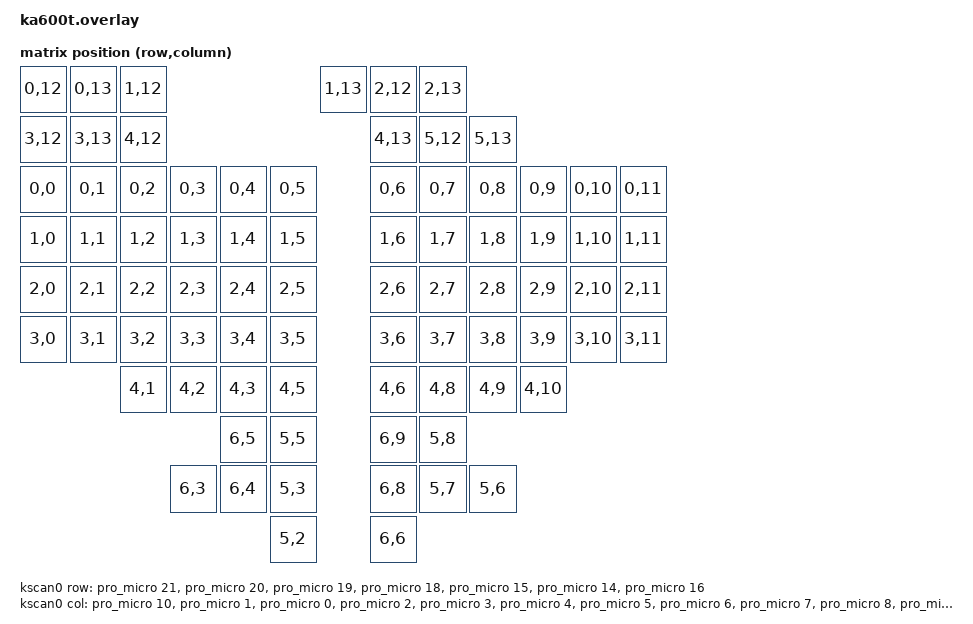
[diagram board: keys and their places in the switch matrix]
/*
 * Copyright (c) 2021 The ZMK Contributors
 *
 * SPDX-License-Identifier: MIT
 */

/*
 * Mostly copied from https://github.com/ergodone/zmkold
 */

#include <dt-bindings/zmk/matrix_transform.h>

/ {
    chosen {
        zmk,kscan = &kscan0;
        zmk,matrix_transform = &default_transform;
    };

    kscan0: kscan {
        compatible = "zmk,kscan-gpio-matrix";
        label = "KSCAN";

        diode-direction = "col2row";

        row-gpios
            = <&pro_micro 21 (GPIO_ACTIVE_LOW | GPIO_PULL_UP)>,
			<&pro_micro   20 (GPIO_ACTIVE_LOW | GPIO_PULL_UP)>,
			<&pro_micro   19 (GPIO_ACTIVE_LOW | GPIO_PULL_UP)>,
			<&pro_micro   18 (GPIO_ACTIVE_LOW | GPIO_PULL_UP)>,
			<&pro_micro   15 (GPIO_ACTIVE_LOW | GPIO_PULL_UP)>,
			<&pro_micro   14 (GPIO_ACTIVE_LOW | GPIO_PULL_UP)>,
			<&pro_micro   16 (GPIO_ACTIVE_LOW | GPIO_PULL_UP)>;
            
        col-gpios // GPIO_ACTIVE_HIGH
            = <&pro_micro 10 (GPIO_ACTIVE_HIGH)>,
			<&pro_micro   1 (GPIO_ACTIVE_HIGH)>,
			<&pro_micro   0 (GPIO_ACTIVE_HIGH)>,
			<&pro_micro   2 (GPIO_ACTIVE_HIGH)>,
			<&pro_micro   3 (GPIO_ACTIVE_HIGH)>,
			<&pro_micro   4 (GPIO_ACTIVE_HIGH)>,
			<&pro_micro   5 (GPIO_ACTIVE_HIGH)>,
			<&pro_micro   6 (GPIO_ACTIVE_HIGH)>,
			<&pro_micro   7 (GPIO_ACTIVE_HIGH)>,
			<&pro_micro   8 (GPIO_ACTIVE_HIGH)>,
            <&pro_micro   9 (GPIO_ACTIVE_HIGH)>,
            <&gpio1       7 (GPIO_ACTIVE_HIGH)>,
            <&gpio1       2 (GPIO_ACTIVE_HIGH)>,
            <&gpio1       1 (GPIO_ACTIVE_HIGH)>;
    };


//
// Matrix layout from:
// https://web.archive.org/web/20201101000000*/http://humblehacker.com/blog/20100720/hacking-the-kinesis-contoured-keyboard/
//    	0	1	2	3	4	5	6	7	8	9	10	11	12	13	14
// 0    =	1	2	3	4	5	6	7	8	9	0	-	ESC	F1	F2
// 1	TB	Q	W	E	R	T	Y	U	I	O	P		F3	F4	F5
// 2	CP	A	S	D	F	G	H	J	K	L	;	‘	F6	F7	F8
// 3	LS	Z	X	C	V	B	N	M	,	.	/	RS	F9	F10	F11
// 4	X2	`	IN	LT		RT	UP		DN	[	]	X1	F12	PS	SL
// 5			SL1	SL2		SL5	SR4	SR3	SR6				PB	PG	KY
// 6				SL4	SL3	SL6	SR1		SR2	SR5				
// 

default_transform: keymap_transform_0 {
        compatible = "zmk,matrix-transform";
        columns = <14>;
        rows = <7>;
   map = <
   
   RC(0,12)  RC(0,13)  /*dead*/  RC(1,12)  RC(1,13)  /*dead*/  RC(2,12)  RC(2,13)  /*dead*/ 

   RC(3,12)  RC(3,13)  /*dead*/  RC(4,12)  RC(4,13)  /*dead*/  RC(5,12)  /*dead*/  RC(5,13)

   RC(0,0)  RC(0,1)  RC(0,2)  RC(0,3)  RC(0,4)  RC(0,5)             RC(0,6)  RC(0,7)  RC(0,8)  RC(0,9)  RC(0,10)  RC(0,11)
   RC(1,0)  RC(1,1)  RC(1,2)  RC(1,3)  RC(1,4)  RC(1,5)             RC(1,6)  RC(1,7)  RC(1,8)  RC(1,9)  RC(1,10)  RC(1,11)
   RC(2,0)  RC(2,1)  RC(2,2)  RC(2,3)  RC(2,4)  RC(2,5)             RC(2,6)  RC(2,7)  RC(2,8)  RC(2,9)  RC(2,10)  RC(2,11)
   RC(3,0)  RC(3,1)  RC(3,2)  RC(3,3)  RC(3,4)  RC(3,5)             RC(3,6)  RC(3,7)  RC(3,8)  RC(3,9)  RC(3,10)  RC(3,11)
                     RC(4,1)  RC(4,2)  RC(4,3)  RC(4,5)             RC(4,6)  RC(4,8)  RC(4,9)  RC(4,10)
                                       RC(6,5)  RC(5,5)             RC(6,9)  RC(5,8)
                              RC(6,3)  RC(6,4)  RC(5,3)             RC(6,8)  RC(5,7)  RC(5,6)
                                                RC(5,2)             RC(6,6)
        >;
    };
};
